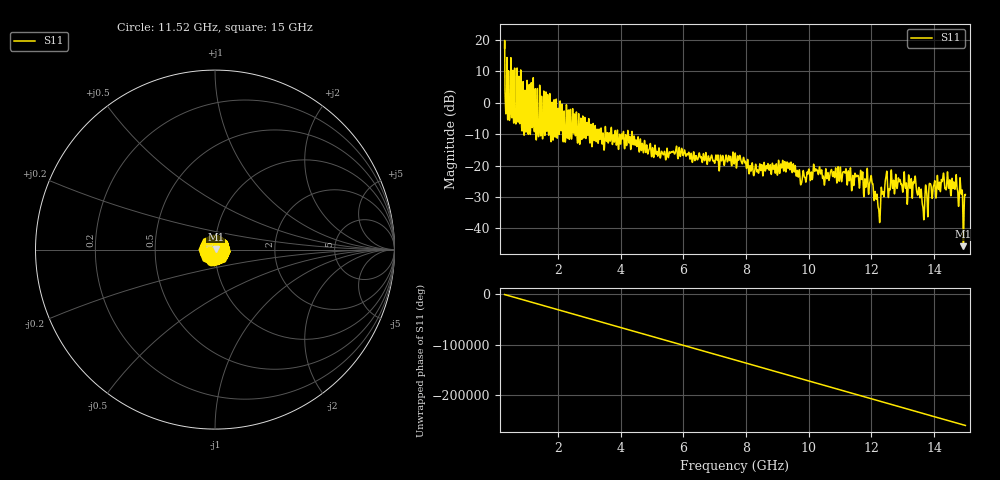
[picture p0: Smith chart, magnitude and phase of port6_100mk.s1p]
# GHZ S RI R 50.0
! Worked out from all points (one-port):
!   12801 points, 300 MHz to 15 GHz, reference 50 ohm
!   lowest |S11| = -45.7 dB at 14.94 GHz (marker M1), VSWR 1.01, Z = 50.4 + j0.374 ohm
!   |S11| at or under -10 dB: 3.906 GHz to 4.031 GHz (125.4 MHz wide, 3.16 % of centre); 4.099 GHz to 4.222 GHz (122.8 MHz wide, 2.95 % of centre); 4.372 GHz to end of sweep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
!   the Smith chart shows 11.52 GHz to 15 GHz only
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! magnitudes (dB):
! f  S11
! 300 MHz  17.4
! 401.1 MHz  -5.4
! 755.9 MHz  8.4
! 914.4 MHz  -9.8
! 1.212 GHz  7.1
! 1.321 GHz  -10.4
! 1.613 GHz  -1.2
! 1.839 GHz  -11.7
! 2.138 GHz  -1.7
! 2.229 GHz  -12.4
! 3.975 GHz  -10.6
! 5.812 GHz  -16.7
! 7.65 GHz  -16.7
! 8.294 GHz  -20.4
! 9.488 GHz  -21.4
! 9.729 GHz  -24.7
! 10.21 GHz  -21.2
! 11.32 GHz  -21.5
! 12 GHz  -23.3
! 12.22 GHz  -33.7
! 12.45 GHz  -24.5
! 13.16 GHz  -29.9
! 13.39 GHz  -23.4
! 13.63 GHz  -32.8
! 14.25 GHz  -24.8
! 14.65 GHz  -26.6
! 14.94 GHz  -45.7
! 15 GHz  -29.2
